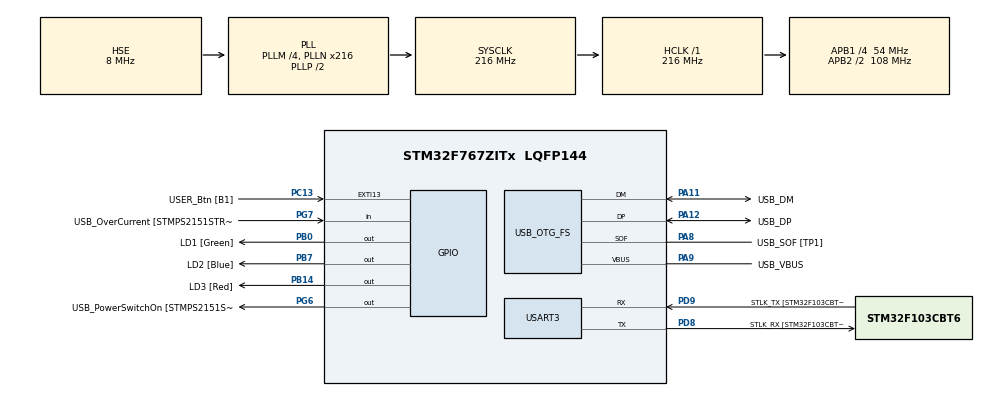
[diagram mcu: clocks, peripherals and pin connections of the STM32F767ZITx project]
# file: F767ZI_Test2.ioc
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CRC.CRCLength=CRC_POLYLENGTH_16B
CRC.DefaultInitValueUse=DEFAULT_INIT_VALUE_DISABLE
CRC.DefaultPolynomialUse=DEFAULT_POLYNOMIAL_DISABLE
CRC.GeneratingPolynomial=X15+X2+X0
CRC.InitValue=0xFFFF
CRC.InputDataFormat=CRC_INPUTDATA_FORMAT_BYTES
CRC.InputDataInversionMode=CRC_INPUTDATA_INVERSION_BYTE
CRC.OutputDataInversionMode=CRC_OUTPUTDATA_INVERSION_ENABLE
Dma.Request0=USART3_RX
Dma.Request1=USART3_TX
Dma.USART3_RX.0.Direction=DMA_PERIPH_TO_MEMORY
Dma.USART3_RX.0.FIFOMode=DMA_FIFOMODE_DISABLE
Dma.USART3_RX.0.Instance=DMA1_Stream1
Dma.USART3_RX.0.MemDataAlignment=DMA_MDATAALIGN_BYTE
Dma.USART3_RX.0.MemInc=DMA_MINC_ENABLE
Dma.USART3_RX.0.Mode=DMA_NORMAL
Dma.USART3_RX.0.PeriphDataAlignment=DMA_PDATAALIGN_BYTE
Dma.USART3_RX.0.PeriphInc=DMA_PINC_DISABLE
Dma.USART3_RX.0.Priority=DMA_PRIORITY_LOW
Dma.USART3_TX.1.Direction=DMA_MEMORY_TO_PERIPH
Dma.USART3_TX.1.FIFOMode=DMA_FIFOMODE_DISABLE
Dma.USART3_TX.1.Instance=DMA1_Stream3
Dma.USART3_TX.1.MemDataAlignment=DMA_MDATAALIGN_BYTE
Dma.USART3_TX.1.MemInc=DMA_MINC_ENABLE
Dma.USART3_TX.1.Mode=DMA_NORMAL
Dma.USART3_TX.1.PeriphDataAlignment=DMA_PDATAALIGN_BYTE
Dma.USART3_TX.1.PeriphInc=DMA_PINC_DISABLE
Dma.USART3_TX.1.Priority=DMA_PRIORITY_LOW
Mcu.Family=STM32F7
Mcu.Name=STM32F767ZITx
Mcu.Package=LQFP144
NVIC.DMA1_Stream1_IRQn=true\:0\:0\:false\:false\:true\:false\:true
NVIC.DMA1_Stream3_IRQn=true\:0\:0\:false\:false\:true\:false\:true
NVIC.PriorityGroup=NVIC_PRIORITYGROUP_4
NVIC.USART3_IRQn=true\:0\:0\:false\:false\:true\:true\:true
PA1.GPIO_Label=RMII_REF_CLK [LAN8742A-CZ-TR_REFCLK0]
PA1.Signal=ETH_REF_CLK
PA10.GPIO_Label=USB_ID
PA10.Signal=USB_OTG_FS_ID
PA11.GPIO_Label=USB_DM
PA11.Mode=Device_Only
PA11.Signal=USB_OTG_FS_DM
PA12.GPIO_Label=USB_DP
PA12.Mode=Device_Only
PA12.Signal=USB_OTG_FS_DP
PA13.GPIO_Label=TMS
PA13.Mode=Serial_Wire
PA13.Signal=SYS_JTMS-SWDIO
PA14.GPIO_Label=TCK
PA14.Mode=Serial_Wire
PA14.Signal=SYS_JTCK-SWCLK
PA2.GPIO_Label=RMII_MDIO [LAN8742A-CZ-TR_MDIO]
PA2.Signal=ETH_MDIO
PA7.GPIO_Label=RMII_CRS_DV [LAN8742A-CZ-TR_CRS_DV]
PA7.Signal=ETH_CRS_DV
PA8.GPIO_Label=USB_SOF [TP1]
PA8.Mode=Activate_SOF_FS
PA8.Signal=USB_OTG_FS_SOF
PA9.GPIO_Label=USB_VBUS
PA9.Mode=Activate_VBUS
PA9.Signal=USB_OTG_FS_VBUS
PB0.GPIO_Label=LD1 [Green]
PB0.Signal=GPIO_Output
PB13.GPIO_Label=RMII_TXD1 [LAN8742A-CZ-TR_TXD1]
PB13.Signal=ETH_TXD1
PB14.GPIO_Label=LD3 [Red]
PB14.Signal=GPIO_Output
PB3.GPIO_Label=SWO
PB3.Signal=SYS_JTDO-SWO
PB7.GPIO_Label=LD2 [Blue]
PB7.Signal=GPIO_Output
PC1.GPIO_Label=RMII_MDC [LAN8742A-CZ-TR_MDC]
PC1.Signal=ETH_MDC
PC13.GPIO_Label=USER_Btn [B1]
PC13.Signal=GPXTI13
PC14/OSC32_IN.Mode=LSE-External-Oscillator
PC14/OSC32_IN.Signal=RCC_OSC32_IN
PC15/OSC32_OUT.Mode=LSE-External-Oscillator
PC15/OSC32_OUT.Signal=RCC_OSC32_OUT
PC4.GPIO_Label=RMII_RXD0 [LAN8742A-CZ-TR_RXD0]
PC4.Signal=ETH_RXD0
PC5.GPIO_Label=RMII_RXD1 [LAN8742A-CZ-TR_RXD1]
PC5.Signal=ETH_RXD1
PD8.GPIO_Label=STLK_RX [STM32F103CBT6_PA3]
PD8.Mode=Asynchronous
PD8.Signal=USART3_TX
PD9.GPIO_Label=STLK_TX [STM32F103CBT6_PA2]
PD9.Mode=Asynchronous
PD9.Signal=USART3_RX
PG11.GPIO_Label=RMII_TX_EN [LAN8742A-CZ-TR_TXEN]
PG11.Signal=ETH_TX_EN
PG13.GPIO_Label=RMII_TXD0 [LAN8742A-CZ-TR_TXD0]
PG13.Signal=ETH_TXD0
PG6.GPIO_Label=USB_PowerSwitchOn [STMPS2151STR_EN]
PG6.Signal=GPIO_Output
PG7.GPIO_Label=USB_OverCurrent [STMPS2151STR_FAULT]
PG7.Signal=GPIO_Input
PH0/OSC_IN.GPIO_Label=MCO [STM32F103CBT6_PA8]
PH0/OSC_IN.Mode=HSE-External-Clock-Source
PH0/OSC_IN.Signal=RCC_OSC_IN
PH1/OSC_OUT.Mode=HSE-External-Clock-Source
PH1/OSC_OUT.Signal=RCC_OSC_OUT
ProjectManager.HeapSize=0x200
ProjectManager.StackSize=0x400
ProjectManager.TargetToolchain=STM32CubeIDE
RCC.48MHZClocksFreq_Value=24000000
RCC.AHBFreq_Value=216000000
RCC.APB1CLKDivider=RCC_HCLK_DIV4
RCC.APB1Freq_Value=54000000
RCC.APB1TimFreq_Value=108000000
RCC.APB2CLKDivider=RCC_HCLK_DIV2
RCC.APB2Freq_Value=108000000
RCC.APB2TimFreq_Value=216000000
RCC.CortexFreq_Value=216000000
RCC.HCLKFreq_Value=216000000
RCC.HSE_VALUE=8000000
RCC.HSI_VALUE=16000000
RCC.PLLM=4
RCC.PLLMUL=RCC_PLL_MUL9
RCC.PLLN=216
RCC.PLLQ=9
RCC.PRESCALERUSB=RCC_USBCLKSOURCE_PLL_DIV1_5
RCC.SYSCLKFreq_VALUE=216000000
RCC.SYSCLKSource=RCC_SYSCLKSOURCE_PLLCLK
RCC.SYSCLKSourceVirtual=RCC_SYSCLKSOURCE_PLLCLK
RCC.USBFreq_Value=48000000
RCC.VCOOutputFreq_Value=432000000
USART3.VirtualMode-Asynchronous=VM_ASYNC
USB_OTG_FS.VirtualMode=Device_Only
VP_CRC_VS_CRC.Mode=CRC_Activate
board=NUCLEO-F767ZI

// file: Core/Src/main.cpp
/* USER CODE BEGIN Header */
/**
 ******************************************************************************
 * @file           : main.c
 * @brief          : Main program body
 ******************************************************************************
 * @attention
 *
 * Copyright (c) 2022 STMicroelectronics.
 * All rights reserved.
 *
 * This software is licensed under terms that can be found in the LICENSE file
 * in the root directory of this software component.
 * If no LICENSE file comes with this software, it is provided AS-IS.
 *
 ******************************************************************************
 */
/* USER CODE END Header */
#include "main.h"
#include "crc.h"
#include "dma.h"
#include "usart.h"
#include "usb_otg.h"
#include "gpio.h"

/* USER CODE BEGIN Includes */
#include <stdio.h>
#include <stdlib.h>
#include <stdbool.h>
#include <stdint.h>
#include <math.h>
#include <string.h>
/* USER CODE END Includes */

void SystemClock_Config(void);

/* USER CODE BEGIN 0 */
volatile uint16_t CRCValue = 0;
volatile uint16_t ExpectedCRCValue = 0;

#define Rx_BUFFER_SIZE   20
uint8_t Old_Rx_Buffer[Rx_BUFFER_SIZE] = {0};
uint8_t New_Rx_Buffer[Rx_BUFFER_SIZE] = {0};
volatile uint16_t cmdDataSize = 0;

void HAL_UARTEx_RxEventCallback(UART_HandleTypeDef *huart, uint16_t Size) {
	if (huart == &huart3) {
		memcpy(Old_Rx_Buffer, &New_Rx_Buffer, Rx_BUFFER_SIZE);
		memset(New_Rx_Buffer, 0, Rx_BUFFER_SIZE);
		if(Size - 2 > 0 && Size <= Rx_BUFFER_SIZE){
			cmdDataSize = Size - 2;
			CRCValue = HAL_CRC_Calculate(&hcrc, (uint32_t *)Old_Rx_Buffer, cmdDataSize);
			ExpectedCRCValue = Old_Rx_Buffer[cmdDataSize] << 8 | Old_Rx_Buffer[cmdDataSize+1];
			if(CRCValue == ExpectedCRCValue){
				HAL_GPIO_WritePin(LD2_GPIO_Port, LD2_Pin, GPIO_PIN_SET);
				HAL_GPIO_WritePin(LD3_GPIO_Port, LD3_Pin, GPIO_PIN_RESET);
				if(Old_Rx_Buffer[0] == 0x41){	// Joint Jog
					HAL_UART_Transmit_DMA(&huart3, &Old_Rx_Buffer[0], 1);
				}
				else if(Old_Rx_Buffer[0] == 0x42){ 	// Linear Jog
					HAL_UART_Transmit_DMA(&huart3, &Old_Rx_Buffer[0], 1);
				}

			}
			else{
				HAL_GPIO_WritePin(LD2_GPIO_Port, LD2_Pin, GPIO_PIN_RESET);
				HAL_GPIO_WritePin(LD3_GPIO_Port, LD3_Pin, GPIO_PIN_SET);
			}
		}
		else{
			HAL_GPIO_WritePin(LD2_GPIO_Port, LD2_Pin, GPIO_PIN_RESET);
			HAL_GPIO_WritePin(LD3_GPIO_Port, LD3_Pin, GPIO_PIN_SET);
			HAL_UART_Transmit_DMA(&huart3, (uint8_t *)"A\n", 2);
		}
		/* start the DMA again */
		HAL_UARTEx_ReceiveToIdle_DMA(&huart3, (uint8_t*) New_Rx_Buffer, Rx_BUFFER_SIZE);
		__HAL_DMA_DISABLE_IT(&hdma_usart3_rx, DMA_IT_HT);
	}
}
/* USER CODE END 0 */

int main(void)
{

  /* MCU Configuration--------------------------------------------------------*/

  /* Reset of all peripherals, Initializes the Flash interface and the Systick. */
  HAL_Init();

  /* Configure the system clock */
  SystemClock_Config();

  /* Initialize all configured peripherals */
  MX_GPIO_Init();
  MX_DMA_Init();
  MX_USART3_UART_Init();
  MX_CRC_Init();
  MX_USB_OTG_FS_PCD_Init();
  /* USER CODE BEGIN 2 */

	HAL_GPIO_WritePin(LD1_GPIO_Port, LD1_Pin, GPIO_PIN_SET);
	HAL_UARTEx_ReceiveToIdle_DMA(&huart3, (uint8_t*) New_Rx_Buffer, Rx_BUFFER_SIZE);
	__HAL_DMA_DISABLE_IT(&hdma_usart3_rx, DMA_IT_HT);
  /* USER CODE END 2 */

  /* Infinite loop */
	while (1) {

	}
}

void SystemClock_Config(void)
{
  RCC_OscInitTypeDef RCC_OscInitStruct = {0};
  RCC_ClkInitTypeDef RCC_ClkInitStruct = {0};

  /** Configure LSE Drive Capability
  */
  HAL_PWR_EnableBkUpAccess();
  /** Configure the main internal regulator output voltage
  */
  __HAL_RCC_PWR_CLK_ENABLE();
  __HAL_PWR_VOLTAGESCALING_CONFIG(PWR_REGULATOR_VOLTAGE_SCALE1);
  /** Initializes the RCC Oscillators according to the specified parameters
  * in the RCC_OscInitTypeDef structure.
  */
  RCC_OscInitStruct.OscillatorType = RCC_OSCILLATORTYPE_HSE;
  RCC_OscInitStruct.HSEState = RCC_HSE_BYPASS;
  RCC_OscInitStruct.PLL.PLLState = RCC_PLL_ON;
  RCC_OscInitStruct.PLL.PLLSource = RCC_PLLSOURCE_HSE;
  RCC_OscInitStruct.PLL.PLLM = 4;
  RCC_OscInitStruct.PLL.PLLN = 216;
  RCC_OscInitStruct.PLL.PLLP = RCC_PLLP_DIV2;
  RCC_OscInitStruct.PLL.PLLQ = 9;
  RCC_OscInitStruct.PLL.PLLR = 2;
  if (HAL_RCC_OscConfig(&RCC_OscInitStruct) != HAL_OK)
  {
    Error_Handler();
  }
  /** Activate the Over-Drive mode
  */
  if (HAL_PWREx_EnableOverDrive() != HAL_OK)
  {
    Error_Handler();
  }
  /** Initializes the CPU, AHB and APB buses clocks
  */
  RCC_ClkInitStruct.ClockType = RCC_CLOCKTYPE_HCLK|RCC_CLOCKTYPE_SYSCLK
                              |RCC_CLOCKTYPE_PCLK1|RCC_CLOCKTYPE_PCLK2;
  RCC_ClkInitStruct.SYSCLKSource = RCC_SYSCLKSOURCE_PLLCLK;
  RCC_ClkInitStruct.AHBCLKDivider = RCC_SYSCLK_DIV1;
  RCC_ClkInitStruct.APB1CLKDivider = RCC_HCLK_DIV4;
  RCC_ClkInitStruct.APB2CLKDivider = RCC_HCLK_DIV2;

  if (HAL_RCC_ClockConfig(&RCC_ClkInitStruct, FLASH_LATENCY_7) != HAL_OK)
  {
    Error_Handler();
  }
}

void Error_Handler(void)
{
  /* USER CODE BEGIN Error_Handler_Debug */
	HAL_GPIO_WritePin(LD1_GPIO_Port, LD1_Pin, GPIO_PIN_RESET);
	HAL_GPIO_WritePin(LD2_GPIO_Port, LD2_Pin, GPIO_PIN_RESET);
	HAL_GPIO_WritePin(LD3_GPIO_Port, LD3_Pin, GPIO_PIN_SET);
	/* User can add his own implementation to report the HAL error return state */
	__disable_irq();
	while (1) {
	}
  /* USER CODE END Error_Handler_Debug */
}
